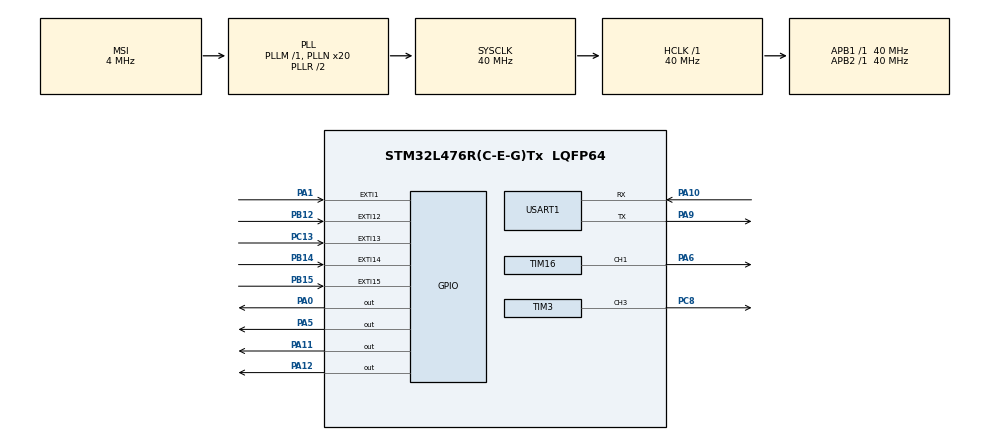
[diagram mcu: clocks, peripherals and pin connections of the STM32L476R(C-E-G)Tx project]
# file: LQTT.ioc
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Mcu.Family=STM32L4
Mcu.Name=STM32L476R(C-E-G)Tx
Mcu.Package=LQFP64
NVIC.EXTI15_10_IRQn=true\:0\:0\:false\:false\:true\:true\:true
NVIC.EXTI1_IRQn=true\:0\:0\:false\:false\:true\:true\:true
NVIC.PriorityGroup=NVIC_PRIORITYGROUP_4
NVIC.TIM7_IRQn=true\:0\:0\:false\:false\:true\:true\:true
PA0.Signal=GPIO_Output
PA1.GPIO_ModeDefaultEXTI=GPIO_MODE_IT_RISING_FALLING
PA1.Signal=GPXTI1
PA10.Mode=Asynchronous
PA10.Signal=USART1_RX
PA11.Signal=GPIO_Output
PA12.Signal=GPIO_Output
PA13\ (JTMS-SWDIO).GPIO_Label=TMS
PA13\ (JTMS-SWDIO).Signal=SYS_JTMS-SWDIO
PA14\ (JTCK-SWCLK).GPIO_Label=TCK
PA14\ (JTCK-SWCLK).Signal=SYS_JTCK-SWCLK
PA2.GPIO_Label=USART_TX
PA2.GPIO_Mode=GPIO_MODE_AF_PP
PA2.GPIO_PuPd=GPIO_NOPULL
PA2.GPIO_Speed=GPIO_SPEED_FREQ_VERY_HIGH
PA2.Signal=USART2_TX
PA3.GPIO_Label=USART_RX
PA3.GPIO_Mode=GPIO_MODE_AF_PP
PA3.GPIO_PuPd=GPIO_NOPULL
PA3.GPIO_Speed=GPIO_SPEED_FREQ_VERY_HIGH
PA3.Signal=USART2_RX
PA5.Signal=GPIO_Output
PA6.Signal=S_TIM16_CH1
PA9.Mode=Asynchronous
PA9.Signal=USART1_TX
PB12.GPIO_ModeDefaultEXTI=GPIO_MODE_IT_RISING_FALLING
PB12.Signal=GPXTI12
PB14.GPIO_ModeDefaultEXTI=GPIO_MODE_IT_RISING_FALLING
PB14.Signal=GPXTI14
PB15.GPIO_ModeDefaultEXTI=GPIO_MODE_IT_RISING_FALLING
PB15.Signal=GPXTI15
PB3\ (JTDO-TRACESWO).GPIO_Label=SWO
PB3\ (JTDO-TRACESWO).Signal=SYS_JTDO-SWO
PC13.GPIO_ModeDefaultEXTI=GPIO_MODE_IT_FALLING
PC13.Signal=GPXTI13
PC14-OSC32_IN\ (PC14).Signal=RCC_OSC32_IN
PC15-OSC32_OUT\ (PC15).Signal=RCC_OSC32_OUT
PC6.Signal=S_TIM8_CH1
PC8.Signal=S_TIM3_CH3
PH0-OSC_IN\ (PH0).Signal=RCC_OSC_IN
PH1-OSC_OUT\ (PH1).Signal=RCC_OSC_OUT
ProjectManager.HeapSize=0x200
ProjectManager.StackSize=0x400
ProjectManager.TargetToolchain=STM32CubeIDE
RCC.ADCFreq_Value=16000000
RCC.AHBFreq_Value=40000000
RCC.APB1Freq_Value=40000000
RCC.APB1TimFreq_Value=40000000
RCC.APB2Freq_Value=40000000
RCC.APB2TimFreq_Value=40000000
RCC.CortexFreq_Value=40000000
RCC.HCLKFreq_Value=40000000
RCC.HSE_VALUE=8000000
RCC.HSI_VALUE=16000000
RCC.LSE_VALUE=32768
RCC.MSI_VALUE=4000000
RCC.PLLN=20
RCC.PREFETCH_ENABLE=1
RCC.SYSCLKFreq_VALUE=40000000
RCC.SYSCLKSource=RCC_SYSCLKSOURCE_PLLCLK
RCC.USBFreq_Value=16000000
RCC.VCOOutputFreq_Value=80000000
SH.S_TIM16_CH1.0=TIM16_CH1,PWM Generation1 CH1
SH.S_TIM3_CH3.0=TIM3_CH3,PWM Generation3 CH3
SH.S_TIM8_CH1.0=TIM8_CH1
TIM16.Channel=TIM_CHANNEL_1
TIM16.Period=999
TIM16.Prescaler=999
TIM16.Pulse=400
TIM16.RepetitionCounter=0
TIM3.Channel-PWM\ Generation3\ CH3=TIM_CHANNEL_3
TIM3.Period=999
TIM3.Prescaler=999
TIM3.Pulse-PWM\ Generation3\ CH3=400
TIM6.Prescaler=9999
TIM7.Period=10
TIM7.Prescaler=39
USART1.VirtualMode-Asynchronous=VM_ASYNC
VP_TIM16_VS_ClockSourceINT.Mode=Enable_Timer
VP_TIM3_VS_ClockSourceINT.Mode=Internal
VP_TIM6_VS_ClockSourceINT.Mode=Enable_Timer
VP_TIM7_VS_ClockSourceINT.Mode=Enable_Timer
board=NUCLEO-L476RG

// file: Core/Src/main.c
/* USER CODE BEGIN Header */
/**
 ******************************************************************************
 * @file           : main.c
 * @brief          : Main program body
 ******************************************************************************
 * @attention
 *
 * <h2><center>&copy; Copyright (c) 2021 STMicroelectronics.
 * All rights reserved.</center></h2>
 *
 * This software component is licensed by ST under BSD 3-Clause license,
 * the "License"; You may not use this file except in compliance with the
 * License. You may obtain a copy of the License at:
 *                        opensource.org/licenses/BSD-3-Clause
 *
 ******************************************************************************
 */
/* USER CODE END Header */
#include "main.h"

/* USER CODE BEGIN Includes */
#include "motors.h"
#include "flags.h"
#include "utils.h"
#include "uart.h"
#include "state_machine.h"
/* USER CODE END Includes */

/* USER CODE BEGIN PD */
#define SPEED 500
/* USER CODE END PD */

TIM_HandleTypeDef htim3;
TIM_HandleTypeDef htim6;
TIM_HandleTypeDef htim7;
TIM_HandleTypeDef htim16;

UART_HandleTypeDef huart1;

/* USER CODE BEGIN PV */

//variable tmp
uint8_t sonnar_mesure_done = 1; //empêche de relancer le timer7

//varible sonar
uint8_t flag_timer_sonar = 0;
double value_distance = 0;
uint16_t value_echo = 0;

/* USER CODE END PV */

void SystemClock_Config(void);
static void MX_GPIO_Init(void);
static void MX_TIM7_Init(void);
static void MX_TIM6_Init(void);
static void MX_TIM3_Init(void);
static void MX_TIM16_Init(void);
static void MX_USART1_UART_Init(void);

int main(void) {

	/* MCU Configuration--------------------------------------------------------*/

	/* Reset of all peripherals, Initializes the Flash interface and the Systick. */
	HAL_Init();

	/* Configure the system clock */
	SystemClock_Config();

	/* Initialize all configured peripherals */
	MX_GPIO_Init();
	MX_TIM7_Init();
	MX_TIM6_Init();
	MX_TIM3_Init();
	MX_TIM16_Init();
	MX_USART1_UART_Init();
	/* USER CODE BEGIN 2 */

	uart_init(&huart1);
	motors_init(&htim3, &htim16);

	HAL_TIM_Base_Init(&htim7);
	HAL_TIM_Base_Init(&htim6);

	/* USER CODE END 2 */

	/* Infinite loop */
	/* USER CODE BEGIN WHILE */
	// TODO code here
	while (1) {
		if (sonnar_mesure_done) {
			HAL_Delay(10);
			HAL_TIM_Base_Start_IT(&htim7);
			HAL_GPIO_WritePin(GPIOA, GPIO_PIN_0, GPIO_PIN_SET);
			sonnar_mesure_done = 0;
		}
		if (flag_timer_sonar) {
			//Calcul apres reception signal :
			//value_distance = value_echo * 0.17;  //distance en mm
			flag_timer_sonar = 0;
			sonnar_mesure_done = 1;

			if (value_echo < 300) {
				flags.vObstacle = 1;
			} else {
				flags.vObstacle = 0;
			}
		}

		/* USER CODE END WHILE */

		/* USER CODE BEGIN 3 */

		utils_readAndSaveDir();
		state_machine_run();
	}
	/* USER CODE END 3 */
}

void SystemClock_Config(void) {
	RCC_OscInitTypeDef RCC_OscInitStruct = { 0 };
	RCC_ClkInitTypeDef RCC_ClkInitStruct = { 0 };

	/** Configure the main internal regulator output voltage
	 */
	if (HAL_PWREx_ControlVoltageScaling(PWR_REGULATOR_VOLTAGE_SCALE1)
			!= HAL_OK) {
		Error_Handler();
	}
	/** Initializes the RCC Oscillators according to the specified parameters
	 * in the RCC_OscInitTypeDef structure.
	 */
	RCC_OscInitStruct.OscillatorType = RCC_OSCILLATORTYPE_MSI;
	RCC_OscInitStruct.MSIState = RCC_MSI_ON;
	RCC_OscInitStruct.MSICalibrationValue = 0;
	RCC_OscInitStruct.MSIClockRange = RCC_MSIRANGE_6;
	RCC_OscInitStruct.PLL.PLLState = RCC_PLL_ON;
	RCC_OscInitStruct.PLL.PLLSource = RCC_PLLSOURCE_MSI;
	RCC_OscInitStruct.PLL.PLLM = 1;
	RCC_OscInitStruct.PLL.PLLN = 20;
	RCC_OscInitStruct.PLL.PLLP = RCC_PLLP_DIV7;
	RCC_OscInitStruct.PLL.PLLQ = RCC_PLLQ_DIV2;
	RCC_OscInitStruct.PLL.PLLR = RCC_PLLR_DIV2;
	if (HAL_RCC_OscConfig(&RCC_OscInitStruct) != HAL_OK) {
		Error_Handler();
	}
	/** Initializes the CPU, AHB and APB buses clocks
	 */
	RCC_ClkInitStruct.ClockType = RCC_CLOCKTYPE_HCLK | RCC_CLOCKTYPE_SYSCLK
			| RCC_CLOCKTYPE_PCLK1 | RCC_CLOCKTYPE_PCLK2;
	RCC_ClkInitStruct.SYSCLKSource = RCC_SYSCLKSOURCE_PLLCLK;
	RCC_ClkInitStruct.AHBCLKDivider = RCC_SYSCLK_DIV1;
	RCC_ClkInitStruct.APB1CLKDivider = RCC_HCLK_DIV1;
	RCC_ClkInitStruct.APB2CLKDivider = RCC_HCLK_DIV1;

	if (HAL_RCC_ClockConfig(&RCC_ClkInitStruct, FLASH_LATENCY_2) != HAL_OK) {
		Error_Handler();
	}
}

static void MX_TIM3_Init(void) {

	TIM_ClockConfigTypeDef sClockSourceConfig = { 0 };
	TIM_MasterConfigTypeDef sMasterConfig = { 0 };
	TIM_OC_InitTypeDef sConfigOC = { 0 };

	htim3.Instance = TIM3;
	htim3.Init.Prescaler = 999;
	htim3.Init.CounterMode = TIM_COUNTERMODE_UP;
	htim3.Init.Period = 999;
	htim3.Init.ClockDivision = TIM_CLOCKDIVISION_DIV1;
	htim3.Init.AutoReloadPreload = TIM_AUTORELOAD_PRELOAD_DISABLE;
	if (HAL_TIM_Base_Init(&htim3) != HAL_OK) {
		Error_Handler();
	}
	sClockSourceConfig.ClockSource = TIM_CLOCKSOURCE_INTERNAL;
	if (HAL_TIM_ConfigClockSource(&htim3, &sClockSourceConfig) != HAL_OK) {
		Error_Handler();
	}
	if (HAL_TIM_PWM_Init(&htim3) != HAL_OK) {
		Error_Handler();
	}
	sMasterConfig.MasterOutputTrigger = TIM_TRGO_RESET;
	sMasterConfig.MasterSlaveMode = TIM_MASTERSLAVEMODE_DISABLE;
	if (HAL_TIMEx_MasterConfigSynchronization(&htim3, &sMasterConfig)
			!= HAL_OK) {
		Error_Handler();
	}
	sConfigOC.OCMode = TIM_OCMODE_PWM1;
	sConfigOC.Pulse = SPEED;
	sConfigOC.OCPolarity = TIM_OCPOLARITY_HIGH;
	sConfigOC.OCFastMode = TIM_OCFAST_DISABLE;
	if (HAL_TIM_PWM_ConfigChannel(&htim3, &sConfigOC, TIM_CHANNEL_3)
			!= HAL_OK) {
		Error_Handler();
	}
	HAL_TIM_MspPostInit(&htim3);

}

static void MX_TIM6_Init(void) {

	TIM_MasterConfigTypeDef sMasterConfig = { 0 };

	htim6.Instance = TIM6;
	htim6.Init.Prescaler = 99;
	htim6.Init.CounterMode = TIM_COUNTERMODE_UP;
	htim6.Init.Period = 65535;
	htim6.Init.AutoReloadPreload = TIM_AUTORELOAD_PRELOAD_DISABLE;
	if (HAL_TIM_Base_Init(&htim6) != HAL_OK) {
		Error_Handler();
	}
	sMasterConfig.MasterOutputTrigger = TIM_TRGO_RESET;
	sMasterConfig.MasterSlaveMode = TIM_MASTERSLAVEMODE_DISABLE;
	if (HAL_TIMEx_MasterConfigSynchronization(&htim6, &sMasterConfig)
			!= HAL_OK) {
		Error_Handler();
	}

}

static void MX_TIM7_Init(void) {

	TIM_MasterConfigTypeDef sMasterConfig = { 0 };

	htim7.Instance = TIM7;
	htim7.Init.Prescaler = 39;
	htim7.Init.CounterMode = TIM_COUNTERMODE_UP;
	htim7.Init.Period = 10;
	htim7.Init.AutoReloadPreload = TIM_AUTORELOAD_PRELOAD_DISABLE;
	if (HAL_TIM_Base_Init(&htim7) != HAL_OK) {
		Error_Handler();
	}
	sMasterConfig.MasterOutputTrigger = TIM_TRGO_RESET;
	sMasterConfig.MasterSlaveMode = TIM_MASTERSLAVEMODE_DISABLE;
	if (HAL_TIMEx_MasterConfigSynchronization(&htim7, &sMasterConfig)
			!= HAL_OK) {
		Error_Handler();
	}

}

static void MX_TIM16_Init(void) {

	TIM_OC_InitTypeDef sConfigOC = { 0 };
	TIM_BreakDeadTimeConfigTypeDef sBreakDeadTimeConfig = { 0 };

	htim16.Instance = TIM16;
	htim16.Init.Prescaler = 999;
	htim16.Init.CounterMode = TIM_COUNTERMODE_UP;
	htim16.Init.Period = 999;
	htim16.Init.ClockDivision = TIM_CLOCKDIVISION_DIV1;
	htim16.Init.RepetitionCounter = 0;
	htim16.Init.AutoReloadPreload = TIM_AUTORELOAD_PRELOAD_DISABLE;
	if (HAL_TIM_Base_Init(&htim16) != HAL_OK) {
		Error_Handler();
	}
	if (HAL_TIM_PWM_Init(&htim16) != HAL_OK) {
		Error_Handler();
	}
	sConfigOC.OCMode = TIM_OCMODE_PWM1;
	sConfigOC.Pulse = SPEED;
	sConfigOC.OCPolarity = TIM_OCPOLARITY_HIGH;
	sConfigOC.OCNPolarity = TIM_OCNPOLARITY_HIGH;
	sConfigOC.OCFastMode = TIM_OCFAST_DISABLE;
	sConfigOC.OCIdleState = TIM_OCIDLESTATE_RESET;
	sConfigOC.OCNIdleState = TIM_OCNIDLESTATE_RESET;
	if (HAL_TIM_PWM_ConfigChannel(&htim16, &sConfigOC, TIM_CHANNEL_1)
			!= HAL_OK) {
		Error_Handler();
	}
	sBreakDeadTimeConfig.OffStateRunMode = TIM_OSSR_DISABLE;
	sBreakDeadTimeConfig.OffStateIDLEMode = TIM_OSSI_DISABLE;
	sBreakDeadTimeConfig.LockLevel = TIM_LOCKLEVEL_OFF;
	sBreakDeadTimeConfig.DeadTime = 0;
	sBreakDeadTimeConfig.BreakState = TIM_BREAK_DISABLE;
	sBreakDeadTimeConfig.BreakPolarity = TIM_BREAKPOLARITY_HIGH;
	sBreakDeadTimeConfig.AutomaticOutput = TIM_AUTOMATICOUTPUT_DISABLE;
	if (HAL_TIMEx_ConfigBreakDeadTime(&htim16, &sBreakDeadTimeConfig)
			!= HAL_OK) {
		Error_Handler();
	}
	HAL_TIM_MspPostInit(&htim16);

}

static void MX_USART1_UART_Init(void) {

	huart1.Instance = USART1;
	huart1.Init.BaudRate = 115200;
	huart1.Init.WordLength = UART_WORDLENGTH_8B;
	huart1.Init.StopBits = UART_STOPBITS_1;
	huart1.Init.Parity = UART_PARITY_NONE;
	huart1.Init.Mode = UART_MODE_TX_RX;
	huart1.Init.HwFlowCtl = UART_HWCONTROL_NONE;
	huart1.Init.OverSampling = UART_OVERSAMPLING_16;
	huart1.Init.OneBitSampling = UART_ONE_BIT_SAMPLE_DISABLE;
	huart1.AdvancedInit.AdvFeatureInit = UART_ADVFEATURE_NO_INIT;
	if (HAL_UART_Init(&huart1) != HAL_OK) {
		Error_Handler();
	}

}

static void MX_GPIO_Init(void) {
	GPIO_InitTypeDef GPIO_InitStruct = { 0 };

	/* GPIO Ports Clock Enable */
	__HAL_RCC_GPIOC_CLK_ENABLE();
	__HAL_RCC_GPIOH_CLK_ENABLE();
	__HAL_RCC_GPIOA_CLK_ENABLE();
	__HAL_RCC_GPIOB_CLK_ENABLE();

	/*Configure GPIO pin Output Level */
	HAL_GPIO_WritePin(GPIOA,
			GPIO_PIN_0 | GPIO_PIN_5 | GPIO_PIN_11 | GPIO_PIN_12,
			GPIO_PIN_RESET);

	/*Configure GPIO pin : PC13 */
	GPIO_InitStruct.Pin = GPIO_PIN_13;
	GPIO_InitStruct.Mode = GPIO_MODE_IT_FALLING;
	GPIO_InitStruct.Pull = GPIO_NOPULL;
	HAL_GPIO_Init(GPIOC, &GPIO_InitStruct);

	/*Configure GPIO pins : PA0 PA5 PA11 PA12 */
	GPIO_InitStruct.Pin = GPIO_PIN_0 | GPIO_PIN_5 | GPIO_PIN_11 | GPIO_PIN_12;
	GPIO_InitStruct.Mode = GPIO_MODE_OUTPUT_PP;
	GPIO_InitStruct.Pull = GPIO_NOPULL;
	GPIO_InitStruct.Speed = GPIO_SPEED_FREQ_LOW;
	HAL_GPIO_Init(GPIOA, &GPIO_InitStruct);

	/*Configure GPIO pin : PA1 */
	GPIO_InitStruct.Pin = GPIO_PIN_1;
	GPIO_InitStruct.Mode = GPIO_MODE_IT_RISING_FALLING;
	GPIO_InitStruct.Pull = GPIO_NOPULL;
	HAL_GPIO_Init(GPIOA, &GPIO_InitStruct);

	/*Configure GPIO pins : USART_TX_Pin USART_RX_Pin */
	GPIO_InitStruct.Pin = USART_TX_Pin | USART_RX_Pin;
	GPIO_InitStruct.Mode = GPIO_MODE_AF_PP;
	GPIO_InitStruct.Pull = GPIO_NOPULL;
	GPIO_InitStruct.Speed = GPIO_SPEED_FREQ_VERY_HIGH;
	GPIO_InitStruct.Alternate = GPIO_AF7_USART2;
	HAL_GPIO_Init(GPIOA, &GPIO_InitStruct);

	/*Configure GPIO pins : PB12 PB14 PB15 */
	GPIO_InitStruct.Pin = GPIO_PIN_12 | GPIO_PIN_14 | GPIO_PIN_15;
	GPIO_InitStruct.Mode = GPIO_MODE_IT_RISING_FALLING;
	GPIO_InitStruct.Pull = GPIO_NOPULL;
	HAL_GPIO_Init(GPIOB, &GPIO_InitStruct);

	/*Configure GPIO pin : PC6 */
	GPIO_InitStruct.Pin = GPIO_PIN_6;
	GPIO_InitStruct.Mode = GPIO_MODE_AF_PP;
	GPIO_InitStruct.Pull = GPIO_NOPULL;
	GPIO_InitStruct.Speed = GPIO_SPEED_FREQ_LOW;
	GPIO_InitStruct.Alternate = GPIO_AF3_TIM8;
	HAL_GPIO_Init(GPIOC, &GPIO_InitStruct);

	/* EXTI interrupt init*/
	HAL_NVIC_SetPriority(EXTI1_IRQn, 0, 0);
	HAL_NVIC_EnableIRQ(EXTI1_IRQn);

	HAL_NVIC_SetPriority(EXTI15_10_IRQn, 0, 0);
	HAL_NVIC_EnableIRQ(EXTI15_10_IRQn);

}

/* USER CODE BEGIN 4 */

void HAL_GPIO_EXTI_Callback(uint16_t GPIO_Pin) {

	if (GPIO_Pin == GPIO_PIN_1) {
		if (HAL_GPIO_ReadPin(GPIOA, GPIO_PIN_1)) {
			HAL_TIM_Base_Start(&htim6);
			value_echo = __HAL_TIM_GET_COUNTER(&htim6);
		} else {
			HAL_TIM_Base_Stop(&htim6);
			value_echo = __HAL_TIM_GET_COUNTER(&htim6) - value_echo;
			flag_timer_sonar = 1;
		}
	}

	if (GPIO_Pin == GPIO_PIN_13) // Button
	{
		flags.fButton = 1;
	}

	if (GPIO_Pin == GPIO_PIN_12) // Capteur droit
	{
		flags.fSensorRight = 1;
		flags.vSensorRight = !HAL_GPIO_ReadPin(GPIOB, GPIO_PIN_12);
	}

	if (GPIO_Pin == GPIO_PIN_14) // Capteur gauche
	{
		flags.fSensorLeft = 1;
		flags.vSensorLeft = !HAL_GPIO_ReadPin(GPIOB, GPIO_PIN_14);
	}

	if (GPIO_Pin == GPIO_PIN_15) // Capteur balle
	{
		flags.fSensorBall = 1;
		flags.vSensorBall = !HAL_GPIO_ReadPin(GPIOB, GPIO_PIN_15);
	}
}

void HAL_TIM_PeriodElapsedCallback(TIM_HandleTypeDef *htim) {

	HAL_GPIO_WritePin(GPIOA, GPIO_PIN_0, GPIO_PIN_RESET);
	HAL_TIM_Base_Stop_IT(&htim7);
	HAL_TIM_Base_Init(&htim7);

}

/* USER CODE END 4 */

void Error_Handler(void) {
	__disable_irq();
	while (1) {
	}
}

/************************ (C) COPYRIGHT STMicroelectronics *****END OF FILE****/
